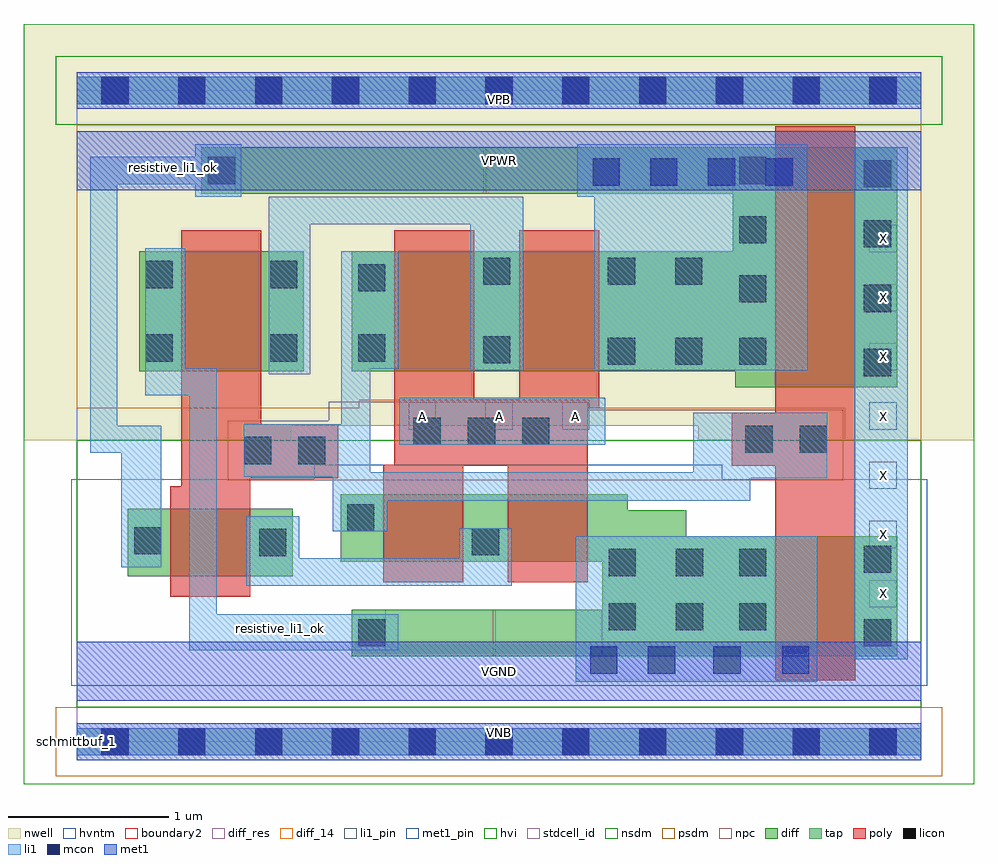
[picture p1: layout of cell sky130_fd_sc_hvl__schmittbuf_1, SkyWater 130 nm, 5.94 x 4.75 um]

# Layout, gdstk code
import gdstk
lib = gdstk.Library(unit=1e-6, precision=1e-09)
def R(c, l, rs):  # rectangles x0, y0, x1, y1
    for r in rs: c.add(gdstk.rectangle(r[:2], r[2:], *l))
def A(c, l, x, y, w, h, nx, ny, dx, dy):  # array of equal rectangles
    R(c, l, [(x+i*dx, y+j*dy, x+i*dx+w, y+j*dy+h) for i in range(nx) for j in range(ny)])
def P(c, l, *ps):  # polygons
    for p in ps: c.add(gdstk.Polygon(p, *l))
nwell = (64, 20)
diff_res = (65, 13)
diff_14 = (65, 14)
diff = (65, 20)
tap = (65, 44)
poly = (66, 20)
licon = (66, 44)
li1_pin = (67, 16)
li1 = (67, 20)
mcon = (67, 44)
met1_pin = (68, 16)
met1 = (68, 20)
hvi = (75, 20)
stdcell_id = (81, 4)
nsdm = (93, 44)
psdm = (94, 20)
npc = (95, 20)
hvntm = (125, 20)
boundary2 = (236, 0)

sky130_fd_sc_hvl__schmit = lib.new_cell('sky130_fd_sc_hvl__schmittbuf_1')
P(sky130_fd_sc_hvl__schmit, nwell, [(5.61,4.485),(-0.33,4.485),(-0.33,1.885),(1.34,1.885),(1.34,1.975),(3.885,1.975),(3.885,1.885),(5.61,1.885)])
R(sky130_fd_sc_hvl__schmit, diff_res, [(1.93,0.535,3.285,0.825), (0.99,3.425,4.1,3.715)])
R(sky130_fd_sc_hvl__schmit, diff_14, [(2.6,0.535,2.62,0.825), (2.54,3.425,2.56,3.715)])
R(sky130_fd_sc_hvl__schmit, diff, [(0.32,1.035,1.35,1.455), (0.39,2.315,1.42,3.065)])
P(sky130_fd_sc_hvl__schmit, diff, [(5.13,1.285),(3.81,1.285),(3.81,1.445),(3.445,1.445),(3.445,1.545),(1.65,1.545),(1.65,1.125),(3.285,1.125),(3.285,0.825),(1.72,0.825),(1.72,0.535),(5.13,0.535)],
  [(5.13,3.715),(0.78,3.715),(0.78,3.425),(4.1,3.425),(4.1,3.065),(1.72,3.065),(1.72,2.315),(4.115,2.315),(4.115,2.215),(5.13,2.215)])
R(sky130_fd_sc_hvl__schmit, tap, [(0,-0.085,5.28,0.085), (0,3.985,5.28,4.155)])
P(sky130_fd_sc_hvl__schmit, poly, [(4.865,3.845),(4.365,3.845),(4.365,2.055),(4.095,2.055),(4.095,1.725),(4.365,1.725),(4.365,0.385),(4.865,0.385)],
  [(3.265,3.195),(2.765,3.195),(2.765,2.14),(2.485,2.14),(2.485,3.195),(1.985,3.195),(1.985,1.73),(1.915,1.73),(1.915,0.995),(2.415,0.995),(2.415,1.725),(2.695,1.725),(2.695,0.995),(3.195,0.995),(3.195,2.085),(3.265,2.085)],
  [(1.635,1.985),(1.155,1.985),(1.155,3.195),(0.655,3.195),(0.655,1.595),(0.585,1.595),(0.585,0.905),(1.085,0.905),(1.085,1.645),(1.635,1.645)])
A(sky130_fd_sc_hvl__schmit, licon, 0.155, -0.085, 0.17, 0.17, 11, 2, 0.48, 4.07)
A(sky130_fd_sc_hvl__schmit, licon, 2.105, 1.855, 0.17, 0.17, 3, 1, 0.34, 0)
A(sky130_fd_sc_hvl__schmit, licon, 4.14, 2.745, 0.17, 0.17, 1, 3, 0, 0.37)
R(sky130_fd_sc_hvl__schmit, licon, [(1.76,0.595,1.93,0.765), (4.92,0.595,5.09,0.765), (3.325,0.695,3.495,0.865), (3.745,0.695,3.915,0.865), (4.14,0.695,4.31,0.865), (3.325,1.035,3.495,1.205), (3.745,1.035,3.915,1.205), (4.14,1.035,4.31,1.205), (4.92,1.055,5.09,1.225), (1.14,1.16,1.31,1.33), (2.47,1.165,2.64,1.335), (0.36,1.17,0.53,1.34), (1.69,1.315,1.86,1.485), (1.045,1.735,1.215,1.905), (1.385,1.735,1.555,1.905), (4.18,1.805,4.35,1.975), (4.52,1.805,4.69,1.975), (4.92,2.285,5.09,2.455), (3.32,2.355,3.49,2.525), (3.74,2.355,3.91,2.525), (4.14,2.355,4.31,2.525), (2.54,2.365,2.71,2.535), (0.43,2.375,0.6,2.545), (1.21,2.375,1.38,2.545), (1.76,2.375,1.93,2.545), (4.92,2.685,5.09,2.855), (1.76,2.815,1.93,2.985), (0.43,2.835,0.6,3.005), (1.21,2.835,1.38,3.005), (2.54,2.855,2.71,3.025), (3.32,2.855,3.49,3.025), (3.74,2.855,3.91,3.025), (4.92,3.09,5.09,3.26), (4.92,3.465,5.09,3.635), (0.82,3.485,0.99,3.655)])
A(sky130_fd_sc_hvl__schmit, li1_pin, 4.955, 0.84, 0.17, 0.17, 1, 7, 0, 0.37)
A(sky130_fd_sc_hvl__schmit, li1_pin, 2.075, 1.95, 0.17, 0.17, 3, 1, 0.48, 0)
R(sky130_fd_sc_hvl__schmit, li1, [(0,-0.085,5.28,0.085), (3.12,0.375,4.63,1.285), (4.86,0.515,5.195,3.715), (2.015,1.855,3.305,2.15), (0,3.985,5.28,4.155)])
P(sky130_fd_sc_hvl__schmit, li1, [(4.69,2.055),(3.855,2.055),(3.855,1.685),(1.835,1.685),(1.835,2.33),(2.01,2.33),(2.01,3.065),(1.655,3.065),(1.655,1.985),(1.045,1.985),(1.045,1.655),(1.6,1.655),(1.6,1.315),(1.94,1.315),(1.94,1.505),(4.21,1.505),(4.21,1.645),(4.69,1.645)],
  [(4.57,3.735),(3.13,3.735),(3.13,3.405),(3.235,3.405),(3.235,2.32),(4.57,2.32)],
  [(2.79,3.405),(1.2,3.405),(1.2,2.295),(1.46,2.295),(1.46,3.235),(2.46,3.235),(2.46,2.32),(2.79,2.32)],
  [(2.72,1.335),(2.39,1.335),(2.39,1.145),(1.39,1.145),(1.39,1.41),(1.06,1.41),(1.06,0.975),(2.72,0.975)],
  [(2.01,0.795),(0.875,0.795),(0.875,2.335),(0.68,2.335),(0.68,3.085),(0.43,3.085),(0.43,2.165),(0.705,2.165),(0.705,0.57),(2.01,0.57)],
  [(1.03,3.735),(0.74,3.735),(0.74,3.655),(0.085,3.655),(0.085,1.805),(0.28,1.805),(0.28,1.09),(0.53,1.09),(0.53,1.975),(0.255,1.975),(0.255,3.485),(0.74,3.485),(0.74,3.405),(1.03,3.405)])
A(sky130_fd_sc_hvl__schmit, mcon, 0.155, -0.085, 0.17, 0.17, 11, 2, 0.48, 4.07)
A(sky130_fd_sc_hvl__schmit, mcon, 3.225, 3.475, 0.17, 0.17, 4, 1, 0.36, 0)
R(sky130_fd_sc_hvl__schmit, mcon, [(3.21,0.425,3.38,0.595), (3.57,0.425,3.74,0.595), (3.98,0.425,4.15,0.595), (4.41,0.425,4.58,0.595)])
R(sky130_fd_sc_hvl__schmit, met1_pin, [(0,0,5.28,0.115), (0,0,5.28,0.115), (0,0.255,5.28,0.625), (0,3.445,5.28,3.815), (0,3.955,5.28,4.07), (0,3.955,5.28,4.07)])
R(sky130_fd_sc_hvl__schmit, met1, [(0,-0.115,5.28,0.115), (0,0.255,5.28,0.625), (0,3.445,5.28,3.815), (0,3.955,5.28,4.185)])
R(sky130_fd_sc_hvl__schmit, hvi, [(-0.33,-0.265,5.61,4.485)])
R(sky130_fd_sc_hvl__schmit, stdcell_id, [(0,0,5.28,4.07)])
R(sky130_fd_sc_hvl__schmit, nsdm, [(0,0.215,5.28,1.885), (-0.13,3.855,5.41,4.285)])
R(sky130_fd_sc_hvl__schmit, psdm, [(-0.13,-0.215,5.41,0.215)])
P(sky130_fd_sc_hvl__schmit, psdm, [(5.28,3.855),(0,3.855),(0,2.085),(1.765,2.085),(1.765,2.135),(3.205,2.135),(3.205,2.085),(4.8,2.085),(4.8,1.885),(5.28,1.885)])
P(sky130_fd_sc_hvl__schmit, npc, [(4.79,2.075),(3.195,2.075),(3.195,2.125),(1.575,2.125),(1.575,2.005),(0.945,2.005),(0.945,1.635),(4.79,1.635)])
P(sky130_fd_sc_hvl__schmit, hvntm, [(5.315,1.64),(4.035,1.64),(4.035,1.73),(1.485,1.73),(1.485,1.64),(-0.035,1.64),(-0.035,0.35),(5.315,0.35)])
R(sky130_fd_sc_hvl__schmit, boundary2, [(0,0,5.28,4.07)])
sky130_fd_sc_hvl__schmit.add(gdstk.Label('schmittbuf_1', (0,0), layer=83, texttype=44))
sky130_fd_sc_hvl__schmit.add(gdstk.Label('resistive_li1_ok', (0.605,3.59), layer=83, texttype=44))
sky130_fd_sc_hvl__schmit.add(gdstk.Label('resistive_li1_ok', (1.275,0.705), layer=83, texttype=44))
sky130_fd_sc_hvl__schmit.add(gdstk.Label('X', (5.04,0.925), layer=67, texttype=5))
sky130_fd_sc_hvl__schmit.add(gdstk.Label('X', (5.04,1.295), layer=67, texttype=5))
sky130_fd_sc_hvl__schmit.add(gdstk.Label('X', (5.04,1.665), layer=67, texttype=5))
sky130_fd_sc_hvl__schmit.add(gdstk.Label('X', (5.04,2.035), layer=67, texttype=5))
sky130_fd_sc_hvl__schmit.add(gdstk.Label('X', (5.04,2.405), layer=67, texttype=5))
sky130_fd_sc_hvl__schmit.add(gdstk.Label('X', (5.04,2.775), layer=67, texttype=5))
sky130_fd_sc_hvl__schmit.add(gdstk.Label('X', (5.04,3.145), layer=67, texttype=5))
sky130_fd_sc_hvl__schmit.add(gdstk.Label('A', (3.12,2.035), layer=67, texttype=5))
sky130_fd_sc_hvl__schmit.add(gdstk.Label('A', (2.16,2.035), layer=67, texttype=5))
sky130_fd_sc_hvl__schmit.add(gdstk.Label('A', (2.64,2.035), layer=67, texttype=5))
sky130_fd_sc_hvl__schmit.add(gdstk.Label('VPWR', (2.64,3.63), layer=68, texttype=5))
sky130_fd_sc_hvl__schmit.add(gdstk.Label('VNB', (2.64,0.058), layer=68, texttype=5))
sky130_fd_sc_hvl__schmit.add(gdstk.Label('VPB', (2.64,4.013), layer=68, texttype=5))
sky130_fd_sc_hvl__schmit.add(gdstk.Label('VPB', (2.64,4.013), layer=68, texttype=5))
sky130_fd_sc_hvl__schmit.add(gdstk.Label('VGND', (2.64,0.44), layer=68, texttype=5))
sky130_fd_sc_hvl__schmit.add(gdstk.Label('VNB', (2.64,0.058), layer=68, texttype=5))

lib.write_gds('sky130_fd_sc_hvl__schmittbuf_1.gds')
